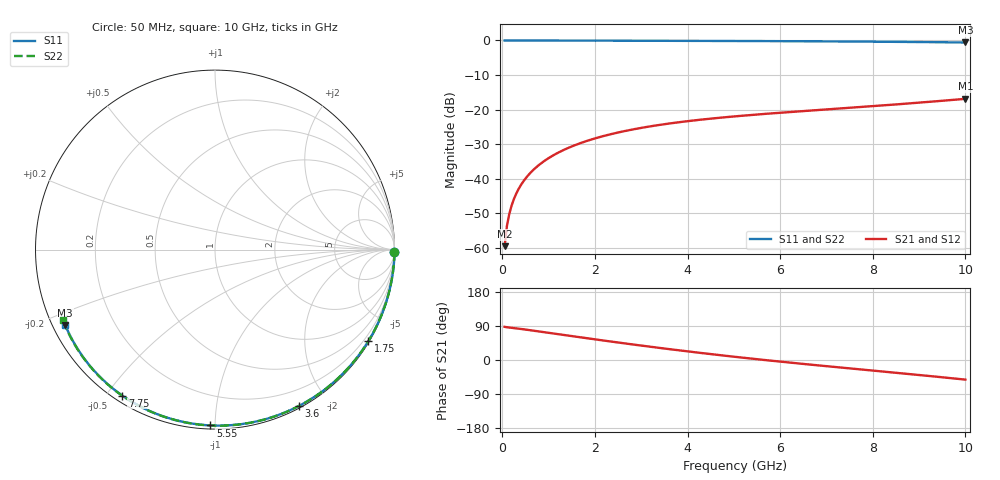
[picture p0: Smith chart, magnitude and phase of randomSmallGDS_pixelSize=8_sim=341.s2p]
! freq	dB(S11)	phase(S11)	dB(S12)	phase(S12)
!  dB(S21)	phase(S21)	dB(S22)	phase(S22)
!S-par simulation data
#  GHz  S  DB  R 50
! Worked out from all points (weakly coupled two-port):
!   200 points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, 50 MHz to 10 GHz, reference 50 ohm
!   highest |S21| = -16.90 dB at 10 GHz (marker M1); lowest = -59.6 dB at 50 MHz (marker M2)
!   lowest |S11| = -0.6 dB at 10 GHz (marker M3), VSWR 29.43, Z = 1.8 - j11.9 ohm
!   |S11| at or under -10 dB: nowhere
!   |S22| runs from -0.6 to 0.0 dB; largest |S21 - S12| = 0
!   S11 on the Smith chart (normalised r, x): 50 MHz: open; 1.75 GHz: 0.04, -3.62; 3.6 GHz: 0.02, -1.68; 5.55 GHz: 0.02, -0.97; 7.75 GHz: 0.02, -0.55; 10 GHz: 0.04, -0.24
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0.05  -0.00 -0.9  -59.56 87.6  -59.56 87.6  -0.00 -0.9
0.1  -0.00 -1.8  -53.71 86.4  -53.71 86.4  -0.00 -1.8
0.15  -0.00 -2.7  -50.29 85.7  -50.29 85.7  -0.00 -2.7
0.2  -0.00 -3.6  -47.85 85.0  -47.85 85.0  -0.00 -3.7
0.25  -0.00 -4.5  -45.94 84.3  -45.94 84.3  -0.00 -4.6
0.35  -0.00 -6.3  -43.06 82.8  -43.06 82.8  -0.00 -6.4
0.5  -0.01 -9.0  -39.99 80.4  -39.99 80.4  -0.01 -9.1
0.7  -0.01 -12.5  -37.10 76.9  -37.10 76.9  -0.01 -12.7
1  -0.02 -17.8  -34.07 71.7  -34.07 71.7  -0.02 -18.1
1.35  -0.03 -23.9  -31.55 65.6  -31.55 65.6  -0.03 -24.4
1.75  -0.04 -30.9  -29.43 58.7  -29.43 58.7  -0.04 -31.4
2.5  -0.06 -43.6  -26.65 46.2  -26.65 46.2  -0.07 -44.4
3.4  -0.09 -58.4  -24.44 31.8  -24.44 31.8  -0.09 -59.5
3.6  -0.10 -61.7  -24.06 28.7  -24.06 28.7  -0.10 -62.7
4.3  -0.12 -72.7  -22.91 18.4  -22.91 18.4  -0.12 -73.9
5.05  -0.15 -84.1  -21.94 8.0  -21.94 8.0  -0.15 -85.5
5.55  -0.18 -91.5  -21.39 1.4  -21.39 1.4  -0.18 -93.0
6.7  -0.24 -107.9  -20.26 -12.8  -20.26 -12.8  -0.25 -109.6
7.75  -0.32 -122.5  -19.27 -25.0  -19.27 -25.0  -0.33 -124.3
8.35  -0.38 -130.6  -18.68 -31.9  -18.68 -31.9  -0.39 -132.5
9.2  -0.48 -142.2  -17.79 -41.9  -17.79 -41.9  -0.48 -144.2
10  -0.59 -153.2  -16.90 -51.8  -16.90 -51.8  -0.59 -155.3
